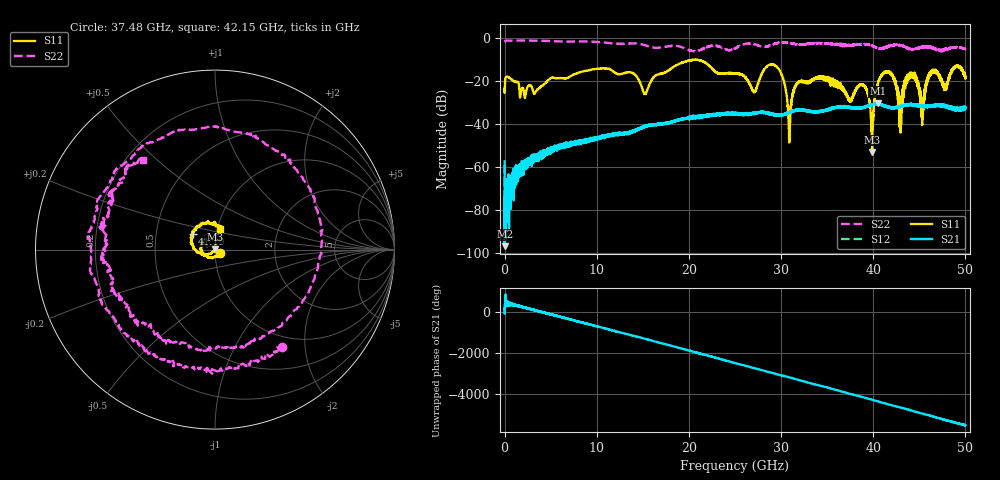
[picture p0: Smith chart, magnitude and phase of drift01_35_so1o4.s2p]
!Created with skrf (http://scikit-rf.org).
# Hz S RI R 50.0
!freq ReS11 ImS11 ReS21 ImS21 ReS12 ImS12 ReS22 ImS22
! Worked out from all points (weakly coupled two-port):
!   10001 points, 300 kHz to 50 GHz, reference 50 ohm
!   highest |S21| = -30.63 dB at 40.49 GHz (marker M1); lowest = -96.9 dB at 5.3 MHz (marker M2)
!   lowest |S11| = -53.2 dB at 39.87 GHz (marker M3), VSWR 1.00, Z = 49.8 + j0.14 ohm
!   |S11| at or under -10 dB: start of sweep to end of sweep
!   |S22| runs from -6.5 to -1.4 dB; largest |S21 - S12| = 0.0047
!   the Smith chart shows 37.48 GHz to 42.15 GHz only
!   S11 on the Smith chart (normalised r, x): 37.48 GHz: 1.06, -0.04; 41.19 GHz: 0.77, +0.14; 42.15 GHz: 1.03, +0.24
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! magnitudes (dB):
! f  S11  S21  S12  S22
! 300 kHz  -23.7  -57.6  -59.3  -2.1
! 5.3 MHz  -25.6  -96.9  -74.1  -2.1
! 8.335 GHz  -15.9  -47.9  -48.6  -1.8
! 16.67 GHz  -17.1  -40.4  -40.4  -4.8
! 25 GHz  -16.6  -35.3  -35.5  -5.1
! 27.1 GHz  -25.3  -35.1  -35.3  -3.1
! 29.42 GHz  -13.1  -36.2  -36.0  -2.7
! 30.91 GHz  -47.0  -34.6  -34.8  -2.5
! 31.66 GHz  -21.8  -33.6  -33.8  -3.2
! 33.34 GHz  -19.8  -34.4  -34.4  -2.6
! 37.48 GHz  -29.3  -32.2  -32.6  -3.6
! 38.95 GHz  -22.2  -32.6  -32.5  -3.1
! 39.87 GHz  -53.2  -31.2  -31.2  -3.8
! 40.49 GHz  -21.8  -30.6  -30.8  -5.0
! 41.19 GHz  -16.3  -31.6  -31.6  -5.0
! 41.67 GHz  -16.2  -32.2  -32.5  -4.2
! 42.15 GHz  -18.7  -32.7  -32.5  -3.8
! 42.92 GHz  -35.0  -32.3  -32.1  -3.6
! 44.07 GHz  -18.5  -31.3  -30.9  -5.3
! 45.31 GHz  -40.7  -31.8  -31.9  -4.3
! 46.44 GHz  -15.3  -32.0  -31.8  -4.9
! 50 GHz  -17.8  -32.6  -32.8  -5.3
